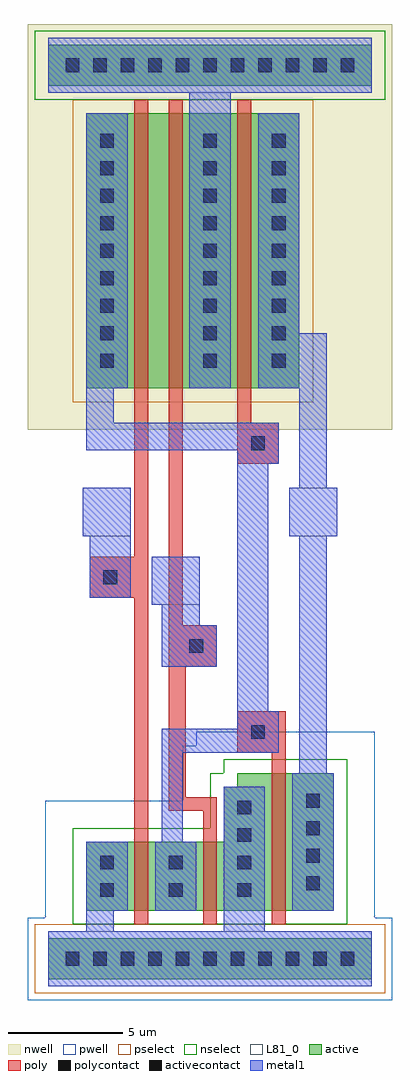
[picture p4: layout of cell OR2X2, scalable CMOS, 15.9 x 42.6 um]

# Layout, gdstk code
import gdstk
lib = gdstk.Library(unit=1e-6, precision=1e-09)
def R(c, l, rs):  # rectangles x0, y0, x1, y1
    for r in rs: c.add(gdstk.rectangle(r[:2], r[2:], *l))
def A(c, l, x, y, w, h, nx, ny, dx, dy):  # array of equal rectangles
    R(c, l, [(x+i*dx, y+j*dy, x+i*dx+w, y+j*dy+h) for i in range(nx) for j in range(ny)])
pwell = (41, 0)
nwell = (42, 0)
active = (43, 0)
pselect = (44, 0)
nselect = (45, 0)
poly = (46, 0)
polycontact = (47, 0)
activecontact = (48, 0)
metal1 = (49, 0)
L81_0 = (81, 0)

or2x2 = lib.new_cell('OR2X2')
R(or2x2, pwell, [(-1.95,-1.8,13.95,1.8), (-1.2,1.8,13.2,6.9), (4.8,6.9,13.2,9.3), (5.4,9.3,13.2,9.9)])
R(or2x2, nwell, [(-1.95,23.1,13.95,40.8)])
R(or2x2, active, [(-1.05,-0.9,13.05,0.9), (0.6,2.1,11.4,5.1), (6.6,5.1,11.4,7.5), (7.2,7.5,11.4,8.1), (0.6,24.9,9.9,36.9), (-1.05,38.1,13.05,39.9)])
R(or2x2, pselect, [(-1.65,-1.5,13.65,1.5), (0,24.3,10.5,37.5)])
R(or2x2, nselect, [(0,1.5,12,5.7), (6,5.7,12,8.1), (6.6,8.1,12,8.7), (-1.65,37.5,13.65,40.5)])
R(or2x2, poly, [(2.7,1.5,3.3,15.75), (5.7,1.5,6.3,6.45), (8.7,1.5,9.3,9), (4.2,6.45,6.3,7.05), (4.2,7.05,4.95,12.75), (7.2,9,9.3,10.8), (4.2,12.75,6.3,14.55), (4.2,14.55,4.8,37.5), (0.75,15.75,3.3,17.55), (2.7,17.55,3.3,37.5), (7.2,21.6,9,23.4), (7.2,23.4,7.8,37.5)])
R(or2x2, polycontact, [(7.8,9.6,8.4,10.2), (5.1,13.35,5.7,13.95), (1.35,16.35,1.95,16.95), (7.8,22.2,8.4,22.8)])
A(or2x2, activecontact, -0.3, -0.3, 0.6, 0.6, 11, 2, 1.2, 39)
A(or2x2, activecontact, 1.2, 2.7, 0.6, 0.6, 3, 2, 3, 1.2)
A(or2x2, activecontact, 10.2, 3, 0.6, 0.6, 1, 4, 0, 1.2)
A(or2x2, activecontact, 1.2, 25.8, 0.6, 0.6, 1, 9, 0, 1.2)
A(or2x2, activecontact, 5.7, 25.8, 0.6, 0.6, 1, 9, 0, 1.2)
A(or2x2, activecontact, 8.7, 25.8, 0.6, 0.6, 1, 9, 0, 1.2)
R(or2x2, activecontact, [(7.2,5.1,7.8,5.7), (7.2,6.3,7.8,6.9)])
R(or2x2, metal1, [(-1.05,-1.2,13.05,1.2), (0.6,1.2,1.8,2.1), (6.6,1.2,8.4,7.5), (0.6,2.1,2.4,5.1), (3.6,2.1,5.4,5.1), (9.6,2.1,11.4,8.1), (3.9,5.1,4.8,9), (9.9,8.1,11.1,18.45), (3.9,9,9,10.05), (7.2,10.05,9,10.8), (7.2,10.8,8.55,21.6), (3.9,12.75,6.3,14.55), (3.9,14.55,5.55,15.45), (3.45,15.45,5.55,17.55), (0.75,15.75,2.55,18.45), (0.45,18.45,2.55,20.55), (9.45,18.45,11.55,20.55), (9.9,20.55,11.1,24.9), (7.2,21.6,9,22.2), (0.6,22.2,9,23.4), (0.6,23.4,1.8,24.9), (0.6,24.9,2.4,36.9), (5.1,24.9,6.9,37.8), (8.1,24.9,11.1,27.3), (8.1,27.3,9.9,36.9), (-1.05,37.8,13.05,40.2)])
R(or2x2, L81_0, [(-1.05,-1.2,13.05,1.2), (3.45,15.45,5.55,17.55), (0.45,18.45,2.55,20.55), (9.45,18.45,11.55,20.55), (-1.05,37.8,13.05,40.2)])

lib.write_gds('OR2X2.gds')
